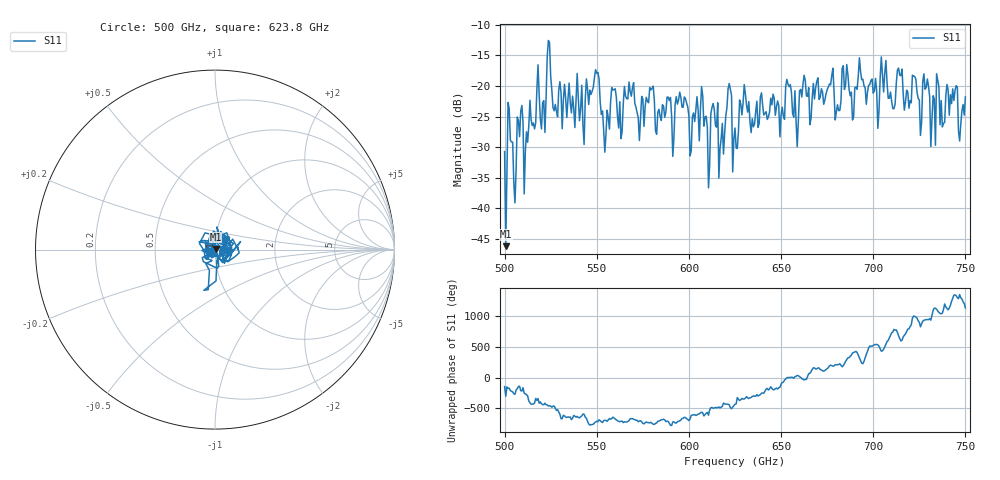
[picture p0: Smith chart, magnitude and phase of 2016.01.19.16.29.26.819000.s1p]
!Created with skrf (http://scikit-rf.org).
# GHz S RI R 50.0
!freq ReS11 ImS11
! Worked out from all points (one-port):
!   401 points, 500 GHz to 750 GHz, reference 50 ohm
!   lowest |S11| = -46.2 dB at 500.6 GHz (marker M1), VSWR 1.01, Z = 50.3 + j0.4 ohm
!   |S11| at or under -10 dB: start of sweep to end of sweep
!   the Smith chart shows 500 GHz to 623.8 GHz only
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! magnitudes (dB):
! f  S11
! 500 GHz  -30.7
! 500.6 GHz  -46.2
! 503.1 GHz  -28.9
! 505 GHz  -35.9
! 508.1 GHz  -28.3
! 511.9 GHz  -27.5
! 520.6 GHz  -22.8
! 524.4 GHz  -12.9
! 527.5 GHz  -23.0
! 531.2 GHz  -27.0
! 541.9 GHz  -19.9
! 550 GHz  -17.9
! 553.8 GHz  -27.2
! 559.4 GHz  -20.6
! 562.5 GHz  -22.6
! 568.8 GHz  -21.7
! 572.5 GHz  -25.2
! 593.8 GHz  -23.0
! 610 GHz  -26.8
! 614.4 GHz  -26.4
! 617.5 GHz  -28.5
! 621.9 GHz  -19.6
! 625 GHz  -26.9
! 629.4 GHz  -22.8
! 656.2 GHz  -24.5
! 687.5 GHz  -21.6
! 718.8 GHz  -21.0
! 750 GHz  -21.8
